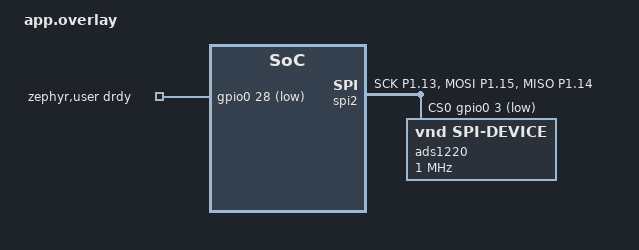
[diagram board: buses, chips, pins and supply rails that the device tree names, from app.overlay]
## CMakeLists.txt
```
# Minimum version of CMake required by Zephyr
cmake_minimum_required(VERSION 3.20.0)

# Find the Zephyr RTOS package
find_package(Zephyr REQUIRED HINTS $ENV{ZEPHYR_BASE})

# Define your project name
project(blinky)

# Add your main source file
target_sources(app PRIVATE src/main.c)
```

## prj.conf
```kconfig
# Enable SPI peripheral drivers
CONFIG_SPI=y

# Enable Floating Point Unit (FPU) for 24-bit voltage calculations
CONFIG_FPU=y

# Enable standard C libraries for float formatting in printk
CONFIG_NEWLIB_LIBC=y
CONFIG_CBPRINTF_FP_SUPPORT=y

# Increase stack size for sensor processing and math
CONFIG_MAIN_STACK_SIZE=2048

# Enable GPIO for Chip Select and Data Ready handling
CONFIG_GPIO=y
```

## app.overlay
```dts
/ {
    zephyr,user {
        /* D2 is P0.28 on the XIAO BLE. DRDY is active low. */
        drdy-gpios = <&gpio0 28 GPIO_ACTIVE_LOW>;
    };
};

/* Disable the LED that steals P0.26 */
&led0 {
    status = "disabled";
};

/* Disable I2C that steals P0.04 */
&i2c1 {
    status = "disabled";
};

/* Disable the default Seeed SPI mapping */
&xiao_spi {
    status = "disabled";
};

&pinctrl {
    /* Correct mapping for Seeed XIAO BLE SPI (D8, D9, D10) */
    spi2_default: spi2_default {
        group1 {
            psels = <NRF_PSEL(SPIM_SCK, 1, 13)>,   /* D8  -> P1.13 */
                    <NRF_PSEL(SPIM_MOSI, 1, 15)>,  /* D10 -> P1.15 */
                    <NRF_PSEL(SPIM_MISO, 1, 14)>;  /* D9  -> P1.14 */
        };
    };

    spi2_sleep: spi2_sleep {
        group1 {
            psels = <NRF_PSEL(SPIM_SCK, 1, 13)>,
                    <NRF_PSEL(SPIM_MOSI, 1, 15)>,
                    <NRF_PSEL(SPIM_MISO, 1, 14)>;
            low-power-enable;
        };
    };
};

&spi2 {
    compatible = "nordic,nrf-spim";
    status = "okay";
    pinctrl-0 = <&spi2_default>;
    pinctrl-1 = <&spi2_sleep>;
    pinctrl-names = "default", "sleep";
    
    /* Hardware CS on D1 (P0.03) */
    cs-gpios = <&gpio0 3 GPIO_ACTIVE_LOW>; 

    ads1220: spi-device@0 {
        compatible = "vnd,spi-device";
        reg = <0>;
        spi-max-frequency = <1000000>; /* 1 MHz */
        /* Zephyr handles the setup and hold delays automatically! */
        spi-hold-time-delay = <10>;
        spi-setup-time-delay = <10>;
    };
};
```

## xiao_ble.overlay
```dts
&i2c1 {
    status = "okay";

    ads1115: ads1115@48 {
        compatible = "ti,ads1115";
        reg = <0x48>;
        #io-channel-cells = <1>;
        #address-cells = <1>;
        #size-cells = <0>;

        /* Channel 0: Typical for Clinical Sensor Input */
        channel@0 {
            reg = <0>;
            zephyr,gain = "ADC_GAIN_1";      /* ±4.096V range */
            zephyr,reference = "ADC_REF_INTERNAL";
            zephyr,acquisition-time = <ADC_ACQ_TIME_DEFAULT>;
            zephyr,resolution = <16>;
        };

        /* Placeholder Channels 1-3 */
        channel@1 { reg = <1>; zephyr,gain = "ADC_GAIN_1"; zephyr,reference = "ADC_REF_INTERNAL"; zephyr,acquisition-time = <ADC_ACQ_TIME_DEFAULT>; zephyr,resolution = <16>; };
        channel@2 { reg = <2>; zephyr,gain = "ADC_GAIN_1"; zephyr,reference = "ADC_REF_INTERNAL"; zephyr,acquisition-time = <ADC_ACQ_TIME_DEFAULT>; zephyr,resolution = <16>; };
        channel@3 { reg = <3>; zephyr,gain = "ADC_GAIN_1"; zephyr,reference = "ADC_REF_INTERNAL"; zephyr,acquisition-time = <ADC_ACQ_TIME_DEFAULT>; zephyr,resolution = <16>; };
    };
};

/ {
    /* This allows you to use 'DEVICE_DT_GET(DT_NODELABEL(ads1115))' in your C code */
    zephyr,user {
        io-channels = <&ads1115 0>;
    };
};
```

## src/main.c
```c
#include <zephyr/kernel.h>
#include <zephyr/device.h>
#include <zephyr/drivers/spi.h>
#include <zephyr/drivers/gpio.h>
#include <zephyr/sys/printk.h>

#define SPI_NODE DT_NODELABEL(ads1220)
static const struct spi_dt_spec ads_spi = SPI_DT_SPEC_GET(SPI_NODE, 
    SPI_OP_MODE_MASTER | SPI_WORD_SET(8) | SPI_MODE_CPHA, 0);

#define ZEPHYR_USER_NODE DT_PATH(zephyr_user)
static const struct gpio_dt_spec drdy_pin = GPIO_DT_SPEC_GET(ZEPHYR_USER_NODE, drdy_gpios);

static struct gpio_callback drdy_cb_data;
static K_SEM_DEFINE(drdy_sem, 0, 1);

void drdy_isr(const struct device *dev, struct gpio_callback *cb, uint32_t pins) {
    k_sem_give(&drdy_sem);
}

#define ADS1220_CMD_RESET     0x06
#define ADS1220_CMD_START     0x08
#define ADS1220_CMD_RDATA     0x10
#define ADS1220_CMD_RREG      0x20
#define ADS1220_CMD_WREG_REG1 0x44
#define ADS1220_REG1_TEMP_ON  0x02

int main(void) {
    int err;
    k_msleep(2500); 

    printk("\n==========================================\n");
    printk("--- ADS1220 Temperature Checker (Zephyr) ---\n");
    printk("==========================================\n");

    if (!device_is_ready(ads_spi.bus) || !gpio_is_ready_dt(&drdy_pin)) {
        printk("Error: Devices not ready.\n");
        return 0;
    }

    gpio_pin_configure_dt(&drdy_pin, GPIO_INPUT);
    gpio_pin_interrupt_configure_dt(&drdy_pin, GPIO_INT_EDGE_TO_ACTIVE);
    gpio_init_callback(&drdy_cb_data, drdy_isr, BIT(drdy_pin.pin));
    gpio_add_callback(drdy_pin.port, &drdy_cb_data);

    /* Let ADS1220 power up */
    k_msleep(100); 

    printk("Resetting ADS1220...\n");
    uint8_t reset_cmd = ADS1220_CMD_RESET;
    struct spi_buf tx_reset_buf = { .buf = &reset_cmd, .len = 1 };
    struct spi_buf_set tx_reset_set = { .buffers = &tx_reset_buf, .count = 1 };
    err = spi_write_dt(&ads_spi, &tx_reset_set);
    if (err) { printk("SPI Write Error (Reset): %d\n", err); }
    k_msleep(100); 

    printk("Reading ADS1220 Registers to verify SPI connection...\n");
    uint8_t tx_rreg[16] = { ADS1220_CMD_RREG | 0x03 }; 
    uint8_t rx_rreg[16] = { 0 };
    
    struct spi_buf tx_rreg_buf = { .buf = tx_rreg, .len = 16 };
    struct spi_buf_set tx_rreg_set = { .buffers = &tx_rreg_buf, .count = 1 };
    struct spi_buf rx_rreg_buf = { .buf = rx_rreg, .len = 16 };
    struct spi_buf_set rx_rreg_set = { .buffers = &rx_rreg_buf, .count = 1 };
    
    err = spi_transceive_dt(&ads_spi, &tx_rreg_set, &rx_rreg_set);

    printk("Raw Register Dump (16 bytes read):\n");
    for(int i = 0; i < 16; i++) {
        printk("Byte %d: 0x%02X\n", i, rx_rreg[i]);
    }

    printk("Enabling Temperature Mode (Continuous)...\n");
    uint8_t init_tx[] = { ADS1220_CMD_WREG_REG1, ADS1220_REG1_TEMP_ON | 0x04 };
    struct spi_buf tx_buf = { .buf = init_tx, .len = sizeof(init_tx) };
    struct spi_buf_set tx_set = { .buffers = &tx_buf, .count = 1 };
    spi_write_dt(&ads_spi, &tx_set);

    printk("Starting Continuous Conversions...\n");
    uint8_t start_cmd = ADS1220_CMD_START;
    struct spi_buf tx_start_buf = { .buf = &start_cmd, .len = 1 };
    struct spi_buf_set tx_start_set = { .buffers = &tx_start_buf, .count = 1 };
    spi_write_dt(&ads_spi, &tx_start_set);

    k_msleep(50);

    /* Main Sampling Loop */
    while (1) {
        k_sem_reset(&drdy_sem);

        if (k_sem_take(&drdy_sem, K_MSEC(1000)) == 0) {
            uint8_t tx_rdata[4] = { ADS1220_CMD_RDATA, 0x00, 0x00, 0x00 };
            uint8_t rx_rdata[4] = { 0 };

            struct spi_buf tx_rdata_buf = { .buf = tx_rdata, .len = 4 };
            struct spi_buf_set tx_rdata_set = { .buffers = &tx_rdata_buf, .count = 1 };
            struct spi_buf rx_rdata_buf = { .buf = rx_rdata, .len = 4 };
            struct spi_buf_set rx_rdata_set = { .buffers = &rx_rdata_buf, .count = 1 };

            err = spi_transceive_dt(&ads_spi, &tx_rdata_set, &rx_rdata_set);

            if (err == 0) {
                int32_t raw_val = ((int32_t)rx_rdata[1] << 16) | ((int32_t)rx_rdata[2] << 8) | rx_rdata[3];
                if (raw_val & 0x800000) { raw_val |= 0xFF000000; }
                float tempC = (float)(raw_val >> 10) * 0.03125f;
                printk("Internal Temperature: %.2f C (Raw: 0x%06X)\n", (double)tempC, (raw_val & 0xFFFFFF));
            }
        } else {
            printk("Timeout! DRDY Logical State: %d\n", gpio_pin_get_dt(&drdy_pin));
        }
        
        k_msleep(1000);
    }
    return 0;
}
```
